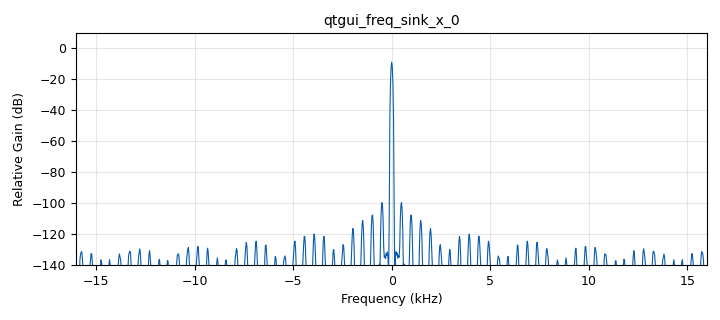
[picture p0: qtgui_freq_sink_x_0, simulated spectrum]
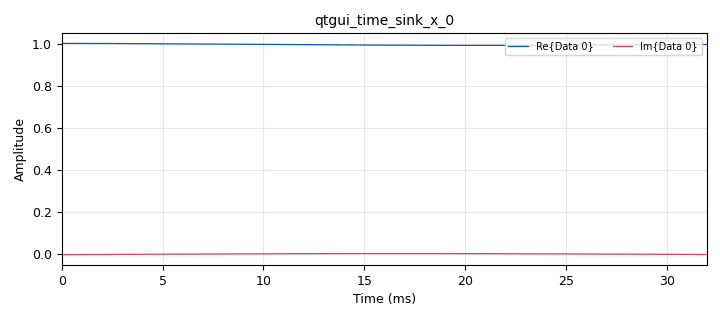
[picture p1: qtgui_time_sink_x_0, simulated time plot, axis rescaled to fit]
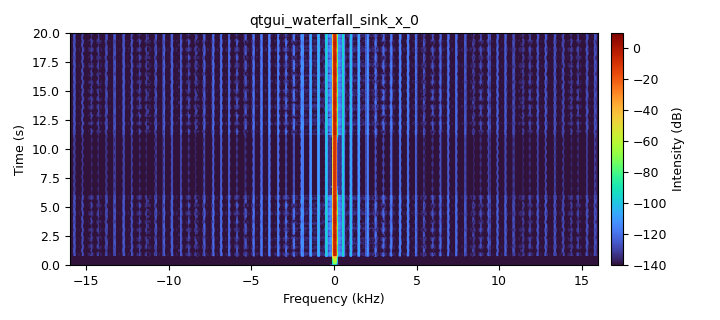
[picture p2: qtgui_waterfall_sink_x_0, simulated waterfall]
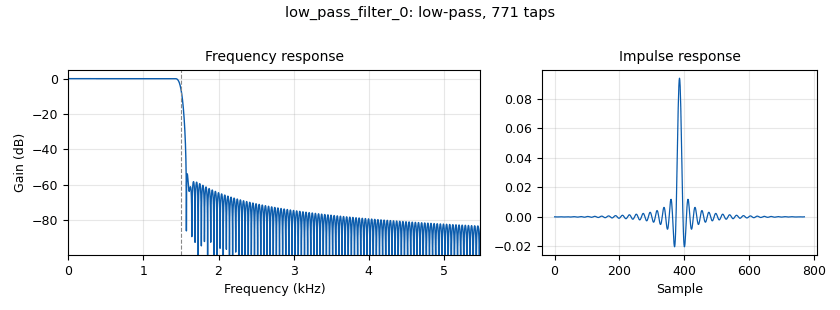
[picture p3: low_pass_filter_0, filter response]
<?xml version='1.0' encoding='utf-8'?>
<?grc format='1' created='3.7.11'?>
<flow_graph>
<block>
<key>options</key>
<param><key>id</key><value>top_block</value></param>
<param><key>generate_options</key><value>qt_gui</value></param>
</block>
<block>
<key>variable_qtgui_chooser</key>
<param><key>id</key><value>frequency</value></param>
<param><key>value</key><value>1294500000</value></param>
<param><key>label0</key><value>144.282 MHz</value></param>
<param><key>label1</key><value>432.320 MHz</value></param>
<param><key>label2</key><value>1294.500 MHz</value></param>
<param><key>label</key><value>Frequency</value></param>
<param><key>num_opts</key><value>3</value></param>
<param><key>option0</key><value>144282000</value></param>
<param><key>option1</key><value>432320000</value></param>
<param><key>option2</key><value>1294500000</value></param>
<param><key>orient</key><value>Qt.QHBoxLayout</value></param>
<param><key>type</key><value>int</value></param>
<param><key>widget</key><value>radio_buttons</value></param>
</block>
<block>
<key>variable_qtgui_chooser</key>
<param><key>id</key><value>modulation</value></param>
<param><key>value</key><value>1</value></param>
<param><key>label0</key><value>CW</value></param>
<param><key>label1</key><value>AM</value></param>
<param><key>label</key><value>Modulation</value></param>
<param><key>num_opts</key><value>2</value></param>
<param><key>option0</key><value>0</value></param>
<param><key>option1</key><value>1</value></param>
<param><key>type</key><value>int</value></param>
</block>
<block>
<key>variable</key>
<param><key>id</key><value>samp_rate</value></param>
<param><key>value</key><value>32000</value></param>
</block>
<block>
<key>variable_qtgui_chooser</key>
<param><key>id</key><value>tone</value></param>
<param><key>value</key><value>600</value></param>
<param><key>label0</key><value>300</value></param>
<param><key>label1</key><value>400</value></param>
<param><key>label2</key><value>500</value></param>
<param><key>label3</key><value>600</value></param>
<param><key>label4</key><value>700</value></param>
<param><key>num_opts</key><value>5</value></param>
<param><key>option0</key><value>300</value></param>
<param><key>option1</key><value>400</value></param>
<param><key>option2</key><value>500</value></param>
<param><key>option3</key><value>600</value></param>
<param><key>option4</key><value>700</value></param>
<param><key>type</key><value>int</value></param>
</block>
<block>
<key>variable</key>
<param><key>id</key><value>tx_samp_rate</value></param>
<param><key>value</key><value>2084000</value></param>
</block>
<block>
<key>variable_qtgui_label</key>
<param><key>id</key><value>variable_qtgui_label_0</value></param>
<param><key>value</key><value>0</value></param>
<param><key>label</key><value>CW Beacon</value></param>
<param><key>type</key><value>int</value></param>
</block>
<block>
<key>variable</key>
<param><key>id</key><value>wpm</value></param>
<param><key>value</key><value>15</value></param>
</block>
<block>
<key>analog_sig_source_x</key>
<param><key>id</key><value>analog_sig_source_x_1</value></param>
<param><key>amp</key><value>1</value></param>
<param><key>freq</key><value>tone</value></param>
<param><key>offset</key><value>0</value></param>
<param><key>type</key><value>complex</value></param>
<param><key>samp_rate</key><value>samp_rate</value></param>
<param><key>waveform</key><value>analog.GR_SAW_WAVE</value></param>
</block>
<block>
<key>blocks_add_const_vxx</key>
<param><key>id</key><value>blocks_add_const_vxx_0</value></param>
<param><key>const</key><value>modulation</value></param>
<param><key>type</key><value>complex</value></param>
</block>
<block>
<key>blocks_multiply_xx</key>
<param><key>id</key><value>blocks_multiply_xx_0</value></param>
<param><key>type</key><value>complex</value></param>
</block>
<block>
<key>blocks_repeat</key>
<param><key>id</key><value>blocks_repeat_0</value></param>
<param><key>interp</key><value>int(1.2 * samp_rate / wpm)</value></param>
<param><key>type</key><value>complex</value></param>
</block>
<block>
<key>blocks_vector_source_x</key>
<param><key>id</key><value>blocks_vector_source_x_0</value></param>
<param><key>type</key><value>complex</value></param>
<param><key>repeat</key><value>True</value></param>
<param><key>vector</key><value>(1,0,1,1,1,0,1,1,1,0,1,1,1,0,0,0,0,1,1,1,0,1,1,1,0,1,0,1,1,1,0,0,0,0,1,0,1,1,1,0,1,1,1,0,1,1,1,0,1,1,1,0,0,0,0,1,1,1,0,1,1,1,0,1,0,1,0,0,0,0,1,1,1,0,1,0,1,1,1,0,1,1,1,0,0,0,0,1,0,1,1,1,0,1,1,1,0,0,0,0,1,1,1,0,1,0,1,0,1,1,1,0,1,0,0,0,0,1,1,1,0,1,0,0,0,0,1,0,1,0,1,1,1,0,0,0,0,1,1,1,0,1,1,1,0,1,1,1,0,1,0,1,0,0,0,0,1,0,1,1,1,0,1,1,1,0,0,0,0,0,0,0,0,0,0,0,0,0,0,0,0,0,0,0,0,0,0,0,0,0,0,0,0,0,0,0,0,0,0,0,0,0,0,0,0,0,0,0)</value></param>
</block>
<block>
<key>low_pass_filter</key>
<param><key>id</key><value>low_pass_filter_0</value></param>
<param><key>cutoff_freq</key><value>1500</value></param>
<param><key>decim</key><value>1</value></param>
<param><key>type</key><value>fir_filter_ccf</value></param>
<param><key>gain</key><value>1</value></param>
<param><key>samp_rate</key><value>samp_rate</value></param>
<param><key>width</key><value>100</value></param>
<param><key>win</key><value>firdes.WIN_HAMMING</value></param>
</block>
<block>
<key>pluto_sink</key>
<param><key>id</key><value>pluto_sink_0</value></param>
<param><key>attenuation</key><value>-10</value></param>
<param><key>buffer_size</key><value>0x8000</value></param>
<param><key>cyclic</key><value>False</value></param>
<param><key>auto_filter</key><value>True</value></param>
<param><key>filter</key><value></value></param>
<param><key>uri</key><value></value></param>
<param><key>frequency</key><value>frequency</value></param>
<param><key>bandwidth</key><value>20000000</value></param>
<param><key>samplerate</key><value>tx_samp_rate</value></param>
</block>
<block>
<key>qtgui_freq_sink_x</key>
<param><key>id</key><value>qtgui_freq_sink_x_0</value></param>
<param><key>bw</key><value>samp_rate</value></param>
<param><key>fc</key><value>0</value></param>
<param><key>fftsize</key><value>1024</value></param>
<param><key>showports</key><value>True</value></param>
<param><key>type</key><value>complex</value></param>
<param><key>wintype</key><value>firdes.WIN_BLACKMAN_hARRIS</value></param>
</block>
<block>
<key>qtgui_time_sink_x</key>
<param><key>id</key><value>qtgui_time_sink_x_0</value></param>
<param><key>color1</key><value>"blue"</value></param>
<param><key>label1</key><value></value></param>
<param><key>color2</key><value>"red"</value></param>
<param><key>label2</key><value></value></param>
<param><key>size</key><value>1024</value></param>
<param><key>srate</key><value>samp_rate</value></param>
<param><key>type</key><value>complex</value></param>
</block>
<block>
<key>qtgui_waterfall_sink_x</key>
<param><key>id</key><value>qtgui_waterfall_sink_x_0</value></param>
<param><key>bw</key><value>samp_rate</value></param>
<param><key>fc</key><value>0</value></param>
<param><key>fftsize</key><value>1024</value></param>
<param><key>showports</key><value>True</value></param>
<param><key>type</key><value>complex</value></param>
<param><key>wintype</key><value>firdes.WIN_BLACKMAN_hARRIS</value></param>
</block>
<block>
<key>rational_resampler_xxx</key>
<param><key>id</key><value>rational_resampler_xxx_0</value></param>
<param><key>decim</key><value>samp_rate</value></param>
<param><key>interp</key><value>tx_samp_rate</value></param>
<param><key>taps</key><value></value></param>
<param><key>type</key><value>ccc</value></param>
</block>
<block>
<key>uhd_usrp_sink</key>
<param><key>id</key><value>uhd_usrp_sink_0</value></param>
<param><key>ant0</key><value>TX/RX</value></param>
<param><key>center_freq0</key><value>frequency</value></param>
<param><key>norm_gain0</key><value>False</value></param>
<param><key>gain0</key><value>90</value></param>
<param><key>clock_rate</key><value>0.0</value></param>
<param><key>dev_args</key><value>""</value></param>
<param><key>_enabled</key><value>0</value></param>
<param><key>type</key><value>fc32</value></param>
<param><key>samp_rate</key><value>tx_samp_rate</value></param>
<param><key>hide_cmd_port</key><value>False</value></param>
<param><key>hide_lo_controls</key><value>True</value></param>
<param><key>sync</key><value></value></param>
<param><key>len_tag_name</key><value></value></param>
</block>
<connection><source_block_id>analog_sig_source_x_1</source_block_id><sink_block_id>blocks_multiply_xx_0</sink_block_id><source_key>0</source_key><sink_key>1</sink_key></connection>
<connection><source_block_id>blocks_add_const_vxx_0</source_block_id><sink_block_id>low_pass_filter_0</sink_block_id><source_key>0</source_key><sink_key>0</sink_key></connection>
<connection><source_block_id>blocks_multiply_xx_0</source_block_id><sink_block_id>blocks_add_const_vxx_0</sink_block_id><source_key>0</source_key><sink_key>0</sink_key></connection>
<connection><source_block_id>blocks_repeat_0</source_block_id><sink_block_id>blocks_multiply_xx_0</sink_block_id><source_key>0</source_key><sink_key>0</sink_key></connection>
<connection><source_block_id>blocks_vector_source_x_0</source_block_id><sink_block_id>blocks_repeat_0</sink_block_id><source_key>0</source_key><sink_key>0</sink_key></connection>
<connection><source_block_id>low_pass_filter_0</source_block_id><sink_block_id>rational_resampler_xxx_0</sink_block_id><source_key>0</source_key><sink_key>0</sink_key></connection>
<connection><source_block_id>rational_resampler_xxx_0</source_block_id><sink_block_id>pluto_sink_0</sink_block_id><source_key>0</source_key><sink_key>0</sink_key></connection>
<connection><source_block_id>rational_resampler_xxx_0</source_block_id><sink_block_id>qtgui_freq_sink_x_0</sink_block_id><source_key>0</source_key><sink_key>0</sink_key></connection>
<connection><source_block_id>rational_resampler_xxx_0</source_block_id><sink_block_id>qtgui_time_sink_x_0</sink_block_id><source_key>0</source_key><sink_key>0</sink_key></connection>
<connection><source_block_id>rational_resampler_xxx_0</source_block_id><sink_block_id>qtgui_waterfall_sink_x_0</sink_block_id><source_key>0</source_key><sink_key>0</sink_key></connection>
<connection><source_block_id>rational_resampler_xxx_0</source_block_id><sink_block_id>uhd_usrp_sink_0</sink_block_id><source_key>0</source_key><sink_key>0</sink_key></connection>
</flow_graph>
